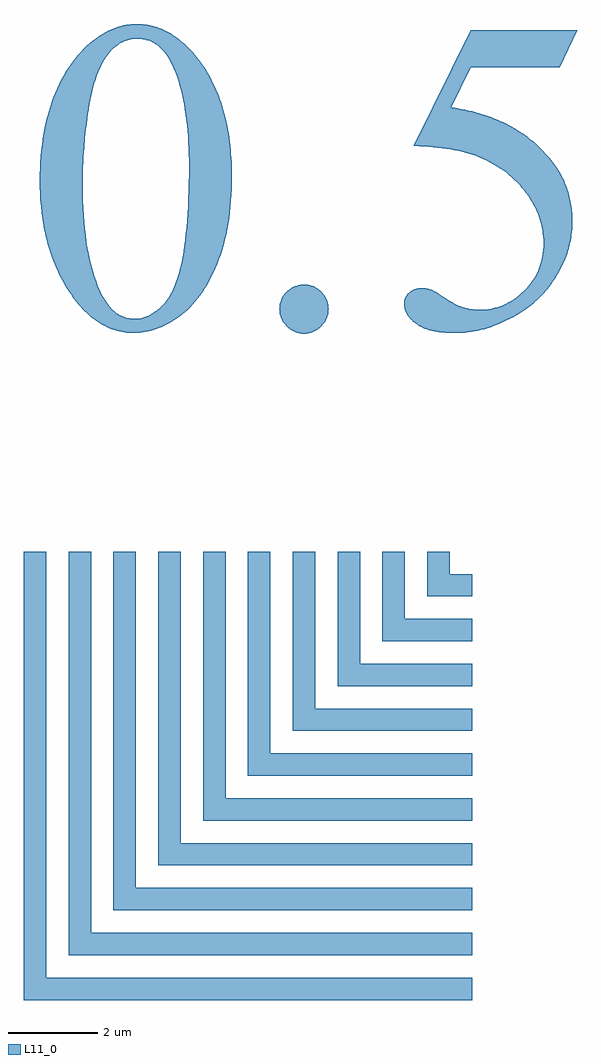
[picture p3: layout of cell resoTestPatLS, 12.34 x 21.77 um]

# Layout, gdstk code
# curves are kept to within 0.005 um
import gdstk
lib = gdstk.Library(unit=1e-6, precision=1e-09)
def P(c, l, *ps):  # polygons
    for p in ps: c.add(gdstk.Polygon(p, *l))
L11_0 = (11, 0)

resotestpatls = lib.new_cell('resoTestPatLS')
P(resotestpatls, L11_0, [(0,0),(0,10),(0.5,10),(0.5,0.5),(10,0.5),(10,0)],
  [(1,1),(1,10),(1.5,10),(1.5,1.5),(10,1.5),(10,1)],
  [(2,2),(2,10),(2.5,10),(2.5,2.5),(10,2.5),(10,2)],
  [(3,3),(3,10),(3.5,10),(3.5,3.5),(10,3.5),(10,3)],
  [(4,4),(4,10),(4.5,10),(4.5,4.5),(10,4.5),(10,4)],
  [(5,5),(5,10),(5.5,10),(5.5,5.5),(10,5.5),(10,5)],
  [(6,6),(6,10),(6.5,10),(6.5,6.5),(10,6.5),(10,6)],
  [(7,7),(7,10),(7.5,10),(7.5,7.5),(10,7.5),(10,7)],
  [(8,8),(8,10),(8.5,10),(8.5,8.5),(10,8.5),(10,8)],
  [(9,9),(9,10),(9.5,10),(9.5,9.5),(10,9.5),(10,9)],
  [(6.25,14.859),(6.144,14.87),(6.045,14.9),(5.953,14.952),(5.867,15.023),(5.795,15.109),(5.744,15.201),(5.713,15.3),(5.703,15.406),(5.713,15.519),(5.744,15.621),(5.795,15.714),(5.847,15.777),(5.931,15.85),(6.021,15.904),(6.119,15.938),(6.223,15.953),(6.307,15.951),(6.44,15.922),(6.535,15.876),(6.621,15.809),(6.694,15.726),(6.758,15.611),(6.787,15.512),(6.797,15.406),(6.787,15.3),(6.756,15.201),(6.705,15.109),(6.633,15.023),(6.547,14.952),(6.455,14.9),(6.381,14.875)],
  [(9.609,14.875),(9.398,14.882),(9.27,14.895),(9.045,14.939),(8.861,15.009),(8.784,15.054),(8.718,15.104),(8.634,15.183),(8.568,15.265),(8.522,15.35),(8.494,15.439),(8.484,15.531),(8.491,15.599),(8.527,15.692),(8.568,15.747),(8.652,15.818),(8.755,15.861),(8.875,15.875),(9.019,15.86),(9.094,15.836),(9.184,15.79),(9.512,15.582),(9.648,15.509),(9.831,15.438),(10.016,15.399),(10.228,15.392),(10.436,15.417),(10.634,15.473),(10.76,15.527),(10.881,15.594),(10.998,15.674),(11.164,15.82),(11.265,15.931),(11.352,16.047),(11.458,16.234),(11.512,16.366),(11.552,16.503),(11.587,16.722),(11.594,16.875),(11.588,17.022),(11.556,17.239),(11.498,17.451),(11.413,17.658),(11.301,17.86),(11.211,17.992),(11.111,18.119),(10.943,18.296),(10.821,18.404),(10.62,18.552),(10.398,18.683),(10.239,18.761),(10.014,18.849),(9.86,18.895),(9.609,18.952),(9.332,18.997),(9.03,19.029),(8.703,19.047),(9.969,21.625),(12.344,21.625),(11.953,20.797),(9.969,20.797),(9.531,19.906),(9.77,19.866),(10.072,19.796),(10.288,19.731),(10.561,19.629),(10.817,19.507),(11.056,19.368),(11.278,19.21),(11.433,19.079),(11.658,18.854),(11.801,18.683),(11.924,18.503),(12.027,18.315),(12.109,18.12),(12.17,17.917),(12.211,17.706),(12.234,17.431),(12.227,17.184),(12.205,16.998),(12.152,16.758),(12.073,16.526),(11.969,16.305),(11.818,16.05),(11.646,15.821),(11.492,15.656),(11.284,15.473),(11.105,15.344),(10.866,15.205),(10.625,15.09),(10.411,15.008),(10.123,14.929),(9.831,14.885)],
  [(2.469,14.875),(2.353,14.879),(2.239,14.893),(2.019,14.945),(1.807,15.033),(1.705,15.09),(1.563,15.188),(2.518,15.188),(2.652,15.211),(2.823,15.282),(2.926,15.347),(3.066,15.461),(3.132,15.531),(3.225,15.654),(3.281,15.748),(3.359,15.907),(3.406,16.024),(3.469,16.219),(3.52,16.44),(3.584,16.813),(3.633,17.234),(3.657,17.542),(3.674,17.871),(3.687,18.405),(3.687,18.733),(3.673,19.134),(3.629,19.629),(3.577,19.971),(3.533,20.185),(3.482,20.387),(3.385,20.684),(3.309,20.86),(3.225,21.013),(3.134,21.144),(3.069,21.218),(3,21.281),(2.865,21.364),(2.716,21.416),(2.618,21.432),(2.516,21.438),(2.355,21.419),(2.278,21.396),(2.203,21.363),(2.059,21.271),(1.955,21.177),(1.839,21.032),(1.728,20.842),(1.631,20.619),(1.549,20.364),(1.503,20.176),(1.445,19.867),(1.4,19.543),(1.364,19.22),(1.325,18.686),(1.313,18.262),(1.318,17.821),(1.346,17.347),(1.378,17.052),(1.421,16.773),(1.506,16.384),(1.576,16.145),(1.692,15.833),(1.792,15.636),(1.905,15.474),(2.03,15.349),(2.169,15.259),(2.32,15.205),(2.484,15.188),(1.563,15.188),(1.413,15.314),(1.274,15.456),(1.055,15.736),(0.891,16),(0.766,16.24),(0.634,16.558),(0.527,16.895),(0.461,17.178),(0.401,17.549),(0.372,17.86),(0.359,18.266),(0.371,18.682),(0.393,18.947),(0.445,19.326),(0.494,19.566),(0.586,19.908),(0.661,20.123),(0.792,20.425),(0.939,20.697),(1.102,20.939),(1.279,21.151),(1.472,21.333),(1.664,21.477),(1.886,21.611),(2.111,21.703),(2.283,21.745),(2.516,21.766),(2.751,21.747),(2.934,21.704),(3.156,21.616),(3.37,21.49),(3.576,21.326),(3.736,21.167),(3.891,20.984),(4.066,20.732),(4.219,20.458),(4.318,20.239),(4.429,19.929),(4.497,19.682),(4.552,19.424),(4.605,19.061),(4.629,18.775),(4.641,18.375),(4.629,17.954),(4.609,17.687),(4.559,17.307),(4.486,16.951),(4.424,16.728),(4.313,16.414),(4.183,16.128),(4.04,15.872),(3.884,15.647),(3.715,15.453),(3.532,15.29),(3.34,15.156),(3.086,15.018),(2.899,14.945),(2.713,14.898),(2.59,14.881)])

lib.write_gds('resoTestPatLS.gds')
